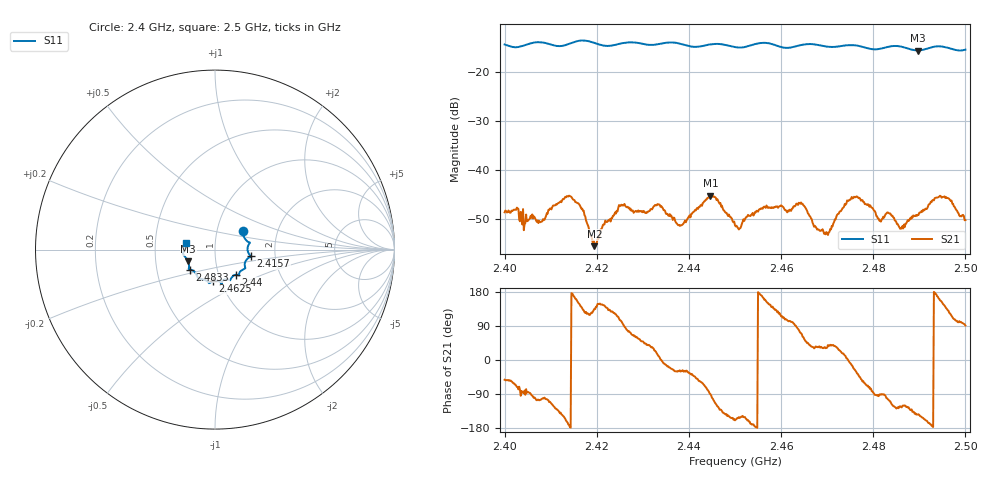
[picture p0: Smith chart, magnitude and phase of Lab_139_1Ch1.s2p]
# Hz S RI R 50
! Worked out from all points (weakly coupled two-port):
!   601 points, 2.4 GHz to 2.5 GHz, reference 50 ohm
!   highest |S21| = -45.23 dB at 2.4447 GHz (marker M1); lowest = -55.5 dB at 2.4195 GHz (marker M2)
!   lowest |S11| = -15.7 dB at 2.4897 GHz (marker M3), VSWR 1.39, Z = 36.7 - j4.92 ohm
!   |S11| at or under -10 dB: start of sweep to end of sweep
!   S12 and S22 are empty: the file has one direction only
!   S11 on the Smith chart (normalised r, x): 2.4 GHz: 1.33, +0.29; 2.4157 GHz: 1.49, -0.12; 2.44 GHz: 1.20, -0.35; 2.4625 GHz: 0.92, -0.34; 2.4833 GHz: 0.74, -0.17; 2.5 GHz: 0.72, +0.06
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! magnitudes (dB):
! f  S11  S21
! 2.4 GHz  -14.5  -48.6
! 2.4077 GHz  -14.0  -50.6
! 2.4135 GHz  -14.5  -45.3
! 2.4157 GHz  -13.8  -46.7
! 2.4167 GHz  -13.7  -47.9
! 2.4195 GHz  -14.2  -55.5
! 2.4252 GHz  -14.3  -47.3
! 2.4333 GHz  -14.4  -47.0
! 2.4378 GHz  -14.3  -51.2
! 2.44 GHz  -14.8  -49.5
! 2.4447 GHz  -14.5  -45.2
! 2.45 GHz  -15.0  -51.3
! 2.4625 GHz  -15.0  -47.8
! 2.4667 GHz  -14.4  -50.0
! 2.47 GHz  -14.9  -52.8
! 2.4762 GHz  -14.7  -45.5
! 2.4813 GHz  -15.4  -50.3
! 2.4833 GHz  -15.0  -48.8
! 2.486 GHz  -14.9  -51.9
! 2.4897 GHz  -15.7  -49.1
! 2.495 GHz  -14.9  -45.5
! 2.5 GHz  -15.6  -50.2
